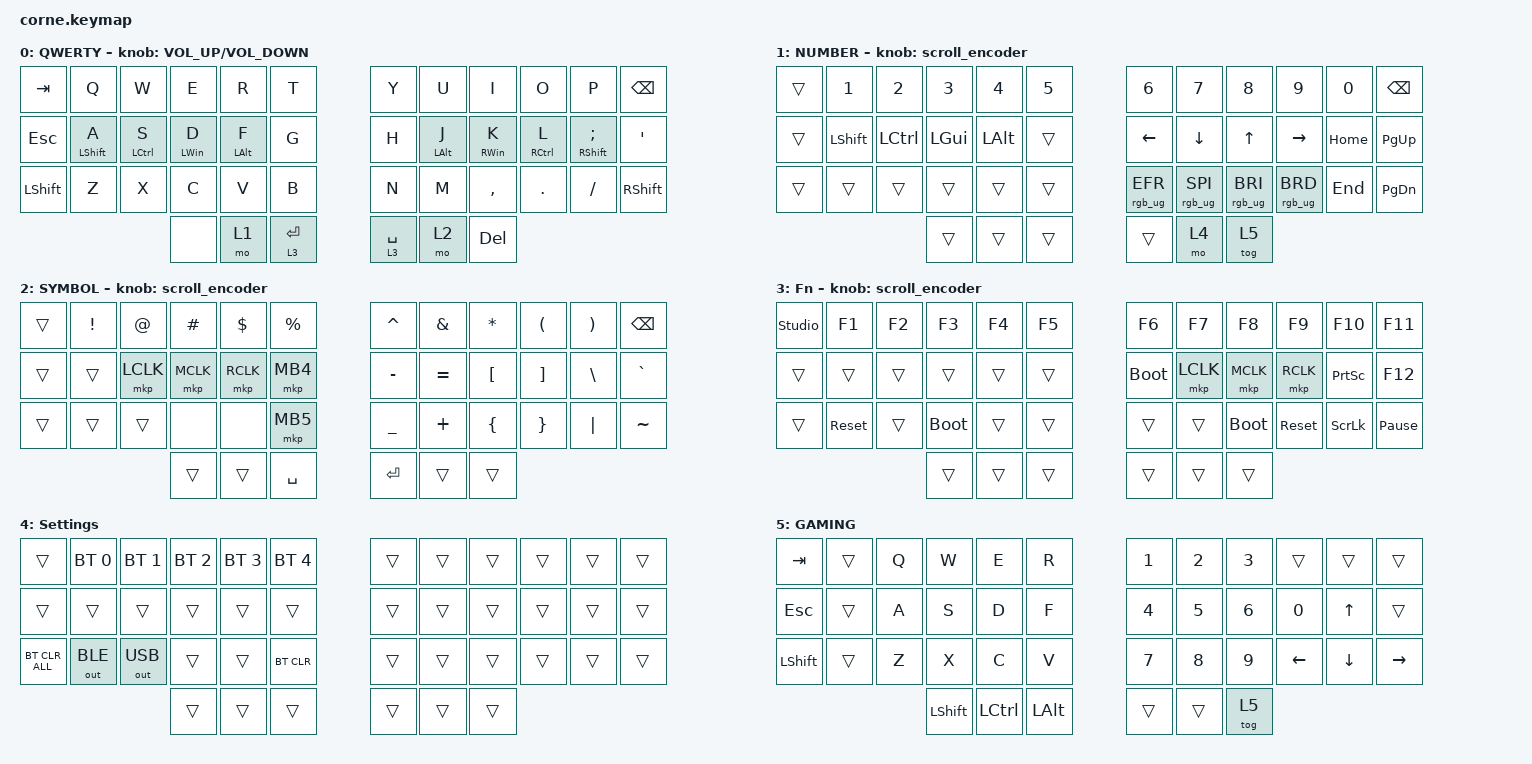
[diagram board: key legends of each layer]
/*
 * Copyright (c) 2020 The ZMK Contributors
 *
 * SPDX-License-Identifier: MIT
 */

#include <input/processors.dtsi>
#include <zephyr/dt-bindings/input/input-event-codes.h>
#include <behaviors.dtsi>
#include <dt-bindings/zmk/bt.h>
#include <dt-bindings/zmk/keys.h>
#include <dt-bindings/zmk/outputs.h>
#include <dt-bindings/zmk/pointing.h>
#include <dt-bindings/zmk/rgb.h>

/ {
    behaviors {
        td0: td0 {
            compatible = "zmk,behavior-tap-dance";
            display-name = "Shift/Caps Lock Tap Dance";
            #binding-cells = <0>;
            bindings = <&kp LEFT_SHIFT>, <&kp CAPS>;
        };
    };

    rgb_encoder: rgb_encoder {
        compatible = "zmk,behavior-sensor-rotate";
        #sensor-binding-cells = <0>;
        bindings = <&rgb_ug RGB_BRI>, <&rgb_ug RGB_BRD>;
    };

    scroll_encoder: scroll_encoder {
        compatible = "zmk,behavior-sensor-rotate";
        #sensor-binding-cells = <0>;
        bindings = <&msc SCRL_DOWN>, <&msc SCRL_UP>;

        tap-ms = <100>;
    };

    keymap {
        compatible = "zmk,keymap";

        default_layer {
            display-name = "QWERTY";
            bindings = <
&kp TAB     &kp Q        &kp W        &kp E       &kp R       &kp T          &kp Y        &kp U       &kp I       &kp O        &kp P           &kp BSPC
&kp ESCAPE  &mt LSHFT A  &mt LCTRL S  &mt LWIN D  &mt LALT F  &kp G          &kp H        &mt LALT J  &mt RWIN K  &mt RCTRL L  &mt RSHFT SEMI  &kp SQT
&kp LSHIFT  &kp Z        &kp X        &kp C       &kp V       &kp B          &kp N        &kp M       &kp COMMA   &kp DOT      &kp FSLH        &kp RSHFT
                                      &none       &mo 1       &lt 3 ENTER    &lt 3 SPACE  &mo 2       &kp DEL
            >;

            sensor-bindings = <&inc_dec_kp C_VOLUME_UP C_VOLUME_DOWN>;
        };

        lower_layer {
            display-name = "NUMBER";
            bindings = <
&trans  &kp N1     &kp N2     &kp N3        &kp N4    &kp N5    &kp N6           &kp N7           &kp N8           &kp N9           &kp N0    &kp BSPC
&trans  &kp LSHFT  &kp LCTRL  &kp LEFT_GUI  &kp LALT  &trans    &kp LEFT         &kp DOWN         &kp UP           &kp RIGHT        &kp HOME  &kp PG_UP
&trans  &trans     &trans     &trans        &trans    &trans    &rgb_ug RGB_EFR  &rgb_ug RGB_SPI  &rgb_ug RGB_BRI  &rgb_ug RGB_BRD  &kp END   &kp PG_DN
                              &trans        &trans    &trans    &trans           &mo 4            &tog 5
            >;

            sensor-bindings = <&scroll_encoder>;
        };

        raise_layer {
            display-name = "SYMBOL";
            bindings = <
&trans  &kp EXCL  &kp AT     &kp HASH   &kp DLLR   &kp PRCNT    &kp CARET  &kp AMPS   &kp ASTRK  &kp LPAR  &kp RPAR  &kp BSPC
&trans  &trans    &mkp LCLK  &mkp MCLK  &mkp RCLK  &mkp MB4     &kp MINUS  &kp EQUAL  &kp LBKT   &kp RBKT  &kp BSLH  &kp GRAVE
&trans  &trans    &trans     &none      &none      &mkp MB5     &kp UNDER  &kp PLUS   &kp LBRC   &kp RBRC  &kp PIPE  &kp TILDE
                             &trans     &trans     &kp SPACE    &kp RET    &trans     &trans
            >;

            sensor-bindings = <&scroll_encoder>;
        };

        fn {
            display-name = "Fn";
            bindings = <
&studio_unlock  &kp F1      &kp F2  &kp F3       &kp F4  &kp F5    &kp F6       &kp F7     &kp F8       &kp F9      &kp F10          &kp F11
&trans          &trans      &trans  &trans       &trans  &trans    &bootloader  &mkp LCLK  &mkp MCLK    &mkp RCLK   &kp PRINTSCREEN  &kp F12
&trans          &sys_reset  &trans  &bootloader  &trans  &trans    &trans       &trans     &bootloader  &sys_reset  &kp SCROLLLOCK   &kp PAUSE_BREAK
                                    &trans       &trans  &trans    &trans       &trans     &trans
            >;

            sensor-bindings = <&scroll_encoder>;
        };

        settings {
            bindings = <
&trans          &bt BT_SEL 0  &bt BT_SEL 1  &bt BT_SEL 2  &bt BT_SEL 3  &bt BT_SEL 4    &trans  &trans  &trans  &trans  &trans  &trans
&trans          &trans        &trans        &trans        &trans        &trans          &trans  &trans  &trans  &trans  &trans  &trans
&bt BT_CLR_ALL  &out OUT_BLE  &out OUT_USB  &trans        &trans        &bt BT_CLR      &trans  &trans  &trans  &trans  &trans  &trans
                                            &trans        &trans        &trans          &trans  &trans  &trans
            >;

            label = "Settings";
        };

        gaming {
            bindings = <
&kp TAB     &trans  &kp Q  &kp W      &kp E      &kp R       &kp N1  &kp N2  &kp N3  &trans          &trans    &trans
&kp ESCAPE  &trans  &kp A  &kp S      &kp D      &kp F       &kp N4  &kp N5  &kp N6  &kp N0          &kp UP    &trans
&kp LSHFT   &trans  &kp Z  &kp X      &kp C      &kp V       &kp N7  &kp N8  &kp N9  &kp LEFT_ARROW  &kp DOWN  &kp RIGHT
                           &kp LSHFT  &kp LCTRL  &kp LALT    &trans  &trans  &tog 5
            >;

            label = "GAMING";
        };
    };
};
